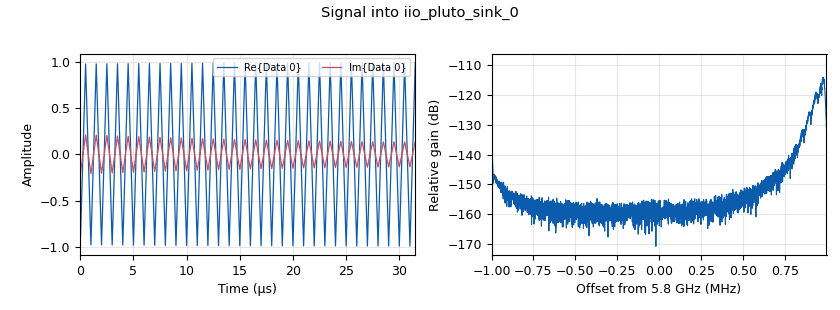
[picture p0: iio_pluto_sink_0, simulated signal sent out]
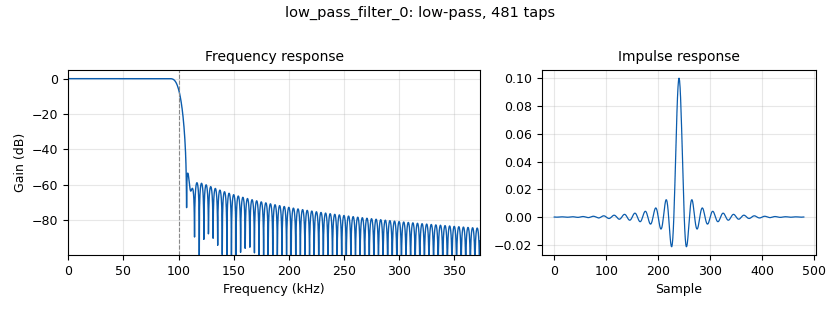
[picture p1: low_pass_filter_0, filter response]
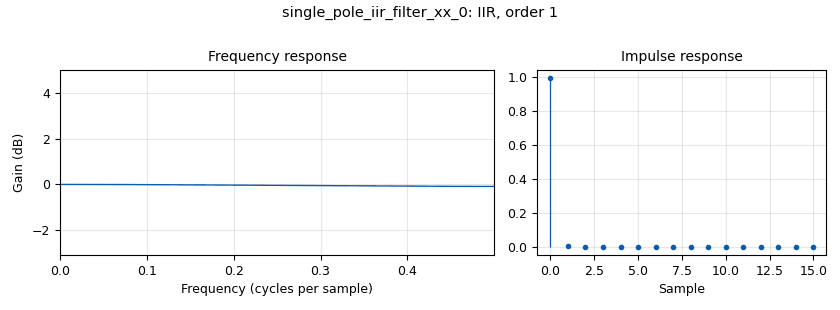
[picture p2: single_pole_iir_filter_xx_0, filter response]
options:
  parameters:
    generate_options: qt_gui
    id: test01
    output_language: python
    title: Not titled yet
  states: {}

blocks:
- name: decimation
  id: variable
  parameters:
    value: '1'
  states: {}
- name: f_centrale
  id: variable_qtgui_range
  parameters:
    label: Center Frequency (Hz)
    start: '70000000'
    step: '50000000'
    stop: '6000000000'
    value: '5800000000'
  states: {}
- name: gain_rx
  id: variable_qtgui_range
  parameters:
    label: RX Gain (dB)
    start: '0'
    step: '1'
    stop: '70'
    value: '60'
  states: {}
- name: gain_tx
  id: variable_qtgui_range
  parameters:
    label: TX Attenuation (dB)
    start: '-80'
    step: '1'
    stop: '0'
    value: '-10'
  states: {}
- name: pi
  id: variable
  parameters:
    value: '3.14159'
  states: {}
- name: samp_rate
  id: variable
  parameters:
    value: '2000000'
  states: {}
- name: sweep_rate
  id: variable_qtgui_range
  parameters:
    label: Sweep Rate (Hz)
    start: '1'
    step: '1'
    stop: '500'
    value: '100'
  states: {}
- name: sweep_width
  id: variable_qtgui_range
  parameters:
    label: Sweep Width (Hz)
    start: '1000000'
    step: '100000'
    stop: '56000000'
    value: samp_rate
  states: {}
- name: analog_sig_source_x_0
  id: analog_sig_source_x
  parameters:
    amp: '1'
    freq: '10'
    offset: '0'
    phase: '0'
    samp_rate: samp_rate
    type: float
    waveform: analog.GR_SAW_WAVE
  states: {}
- name: blocks_multiply_xx_0
  id: blocks_multiply_xx
  parameters:
    type: complex
  states: {}
- name: blocks_sub_xx_0
  id: blocks_sub_xx
  parameters:
    type: complex
  states: {}
- name: blocks_vco_c_0
  id: blocks_vco_c
  parameters:
    amplitude: '1'
    samp_rate: samp_rate
    sensitivity: 2*pi*sweep_width
  states: {}
- name: iio_pluto_sink_0
  id: iio_pluto_sink
  parameters:
    attenuation1: gain_tx
    bandwidth: '20000000'
    buffer_size: '32768'
    cyclic: 'False'
    filter_source: '''Auto'''
    frequency: f_centrale
    samplerate: samp_rate
    type: fc32
  states: {}
- name: iio_pluto_source_0
  id: iio_pluto_source
  parameters:
    bandwidth: '20000000'
    bbdc: 'True'
    buffer_size: '32768'
    filter_source: '''Auto'''
    frequency: f_centrale
    gain1: '''manual'''
    manual_gain1: gain_rx
    quadrature: 'True'
    rfdc: 'True'
    samplerate: samp_rate
    type: fc32
  states: {}
- name: low_pass_filter_0
  id: low_pass_filter
  parameters:
    cutoff_freq: '100000'
    decim: '1'
    gain: '1'
    samp_rate: samp_rate
    type: fir_filter_ccf
    width: '10000'
    win: window.WIN_HAMMING
  states: {}
- name: qtgui_waterfall_sink_x_0
  id: qtgui_waterfall_sink_x
  parameters:
    bw: samp_rate
    fc: '0'
    fftsize: '512'
    type: complex
  states: {}
- name: rational_resampler_xxx_0
  id: rational_resampler_xxx
  parameters:
    decim: decimation
    interp: '1'
    type: ccc
  states: {}
- name: single_pole_iir_filter_xx_0
  id: single_pole_iir_filter_xx
  parameters:
    alpha: '0.995'
    type: complex
  states: {}

connections:
- [analog_sig_source_x_0, '0', blocks_vco_c_0, '0']
- [blocks_multiply_xx_0, '0', low_pass_filter_0, '0']
- [blocks_sub_xx_0, '0', qtgui_waterfall_sink_x_0, '0']
- [blocks_vco_c_0, '0', blocks_multiply_xx_0, '0']
- [blocks_vco_c_0, '0', iio_pluto_sink_0, '0']
- [iio_pluto_source_0, '0', blocks_multiply_xx_0, '1']
- [low_pass_filter_0, '0', rational_resampler_xxx_0, '0']
- [rational_resampler_xxx_0, '0', blocks_sub_xx_0, '0']
- [rational_resampler_xxx_0, '0', single_pole_iir_filter_xx_0, '0']
- [single_pole_iir_filter_xx_0, '0', blocks_sub_xx_0, '1']

metadata:
  file_format: 1
